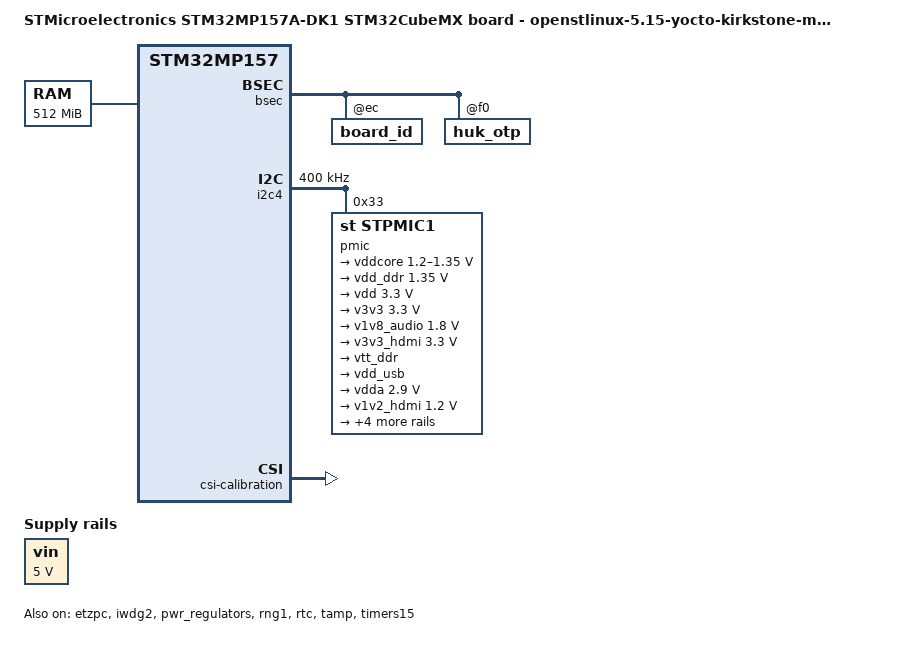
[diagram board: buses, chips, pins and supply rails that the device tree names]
/dts-v1/;
#include <dt-bindings/pinctrl/stm32-pinfunc.h>
#include <dt-bindings/clock/stm32mp1-clksrc.h>
#include <dt-bindings/soc/stm32mp15-etzpc.h>
#include "stm32mp157.dtsi"
#include "stm32mp15xa.dtsi"
#include "stm32mp15xxac-pinctrl.dtsi"

/* USER CODE BEGIN includes */
#include <dt-bindings/power/stm32mp1-power.h>
/* USER CODE END includes */

/{
	model = "STMicroelectronics STM32MP157A-DK1 STM32CubeMX board - openstlinux-5.15-yocto-kirkstone-mp1-v22.06.15";
	compatible = "st,stm32mp157a-board_157a-dk1-mx", "st,stm32mp157";

	/* USER CODE BEGIN root */

	vin:vin{
		compatible = "regulator-fixed";
		regulator-name = "vin";
		regulator-min-microvolt = <5000000>;
		regulator-max-microvolt = <5000000>;
		regulator-always-on;
	};

	aliases{
		serial0 = &uart4;
		serial1 = &usart3;
		serial2 = &uart7;
	};

	chosen{
		stdout-path = "serial0:115200n8";
	};
	/* USER CODE END root */

	memory@c0000000{
		device_type = "memory";
		reg = <0xc0000000 0x20000000>;
	};

	reserved-memory{
		#address-cells = <1>;
		#size-cells = <1>;
		ranges;
	};

	clocks{

		clk_hsi:clk-hsi{
			clock-frequency = <64000000>;
		};

		clk_lse:clk-lse{
			clock-frequency = <32768>;
			st,drive = < LSEDRV_MEDIUM_HIGH >;
		};

		clk_hse:clk-hse{
			clock-frequency = <24000000>;
			st,digbypass;
		};
	};
};

&pinctrl{

	/* USER CODE BEGIN pinctrl */
	/* USER CODE END pinctrl */
};

&pinctrl_z{

	i2c4_pins_z_mx:i2c4_mx-0{

		pins{
			pinmux = <STM32_PINMUX('Z', 4, AF6)>,
					<STM32_PINMUX('Z', 5, AF6)>;
			bias-disable;
			drive-open-drain;
			slew-rate = <0>;
		};
	};
};

&bsec{
	status = "okay";

	/* USER CODE BEGIN bsec */

	board_id:board_id@ec{
		reg = <0xec 0x4>;
		st,non-secure-otp;
	};

	huk_otp:huk_otp@f0{
		reg = <0xf0 0x10>;
	};
	/* USER CODE END bsec */
};

&etzpc{
	status = "okay";
	st,decprot = <
	
	DECPROT(STM32MP1_ETZPC_ADC_ID, DECPROT_NS_RW, DECPROT_UNLOCK)
	DECPROT(STM32MP1_ETZPC_DMA1_ID, DECPROT_NS_RW, DECPROT_UNLOCK)
	DECPROT(STM32MP1_ETZPC_DMA2_ID, DECPROT_NS_RW, DECPROT_UNLOCK)
	DECPROT(STM32MP1_ETZPC_DMAMUX_ID, DECPROT_NS_RW, DECPROT_UNLOCK)
	DECPROT(STM32MP1_ETZPC_ETH_ID, DECPROT_NS_RW, DECPROT_UNLOCK)
	DECPROT(STM32MP1_ETZPC_HASH1_ID, DECPROT_NS_RW, DECPROT_UNLOCK)
	DECPROT(STM32MP1_ETZPC_CEC_ID, DECPROT_NS_RW, DECPROT_UNLOCK)
	DECPROT(STM32MP1_ETZPC_I2C1_ID, DECPROT_NS_RW, DECPROT_UNLOCK)
	DECPROT(STM32MP1_ETZPC_I2C4_ID, DECPROT_NS_RW, DECPROT_UNLOCK)
	DECPROT(STM32MP1_ETZPC_SPI2_ID, DECPROT_NS_RW, DECPROT_UNLOCK)
	DECPROT(STM32MP1_ETZPC_SAI2_ID, DECPROT_NS_RW, DECPROT_UNLOCK)
	DECPROT(STM32MP1_ETZPC_UART4_ID, DECPROT_NS_RW, DECPROT_UNLOCK)
	DECPROT(STM32MP1_ETZPC_OTG_ID, DECPROT_NS_RW, DECPROT_UNLOCK)
	DECPROT(STM32MP1_ETZPC_VREFBUF_ID, DECPROT_NS_RW, DECPROT_UNLOCK)
	
	DECPROT(STM32MP1_ETZPC_DDRCTRL_ID, DECPROT_NS_R_S_W, DECPROT_LOCK)
	DECPROT(STM32MP1_ETZPC_DDRPHYC_ID, DECPROT_NS_R_S_W, DECPROT_LOCK)
	
	DECPROT(STM32MP1_ETZPC_RNG1_ID, DECPROT_S_RW, DECPROT_UNLOCK)
	DECPROT(STM32MP1_ETZPC_STGENC_ID, DECPROT_S_RW, DECPROT_UNLOCK)

	

	
	
	>;
};

&i2c4{
	pinctrl-names = "default";
	pinctrl-0 = <&i2c4_pins_z_mx>;
	status = "okay";

	/* USER CODE BEGIN i2c4 */
	compatible = "st,stm32mp15-i2c-non-secure";
	i2c-scl-rising-time-ns = <185>;
	i2c-scl-falling-time-ns = <20>;
	clock-frequency = <400000>;

	pmic:stpmic@33{
		compatible = "st,stpmic1";
		reg = <0x33>;
		interrupt-controller;
		#interrupt-cells = <2>;
		status = "okay";

		regulators{
			compatible = "st,stpmic1-regulators";
			buck1-supply = <&vin>;
			buck2-supply = <&vin>;
			buck3-supply = <&vin>;
			buck4-supply = <&vin>;
			ldo1-supply = <&v3v3>;
			ldo2-supply = <&vin>;
			ldo3-supply = <&vdd_ddr>;
			ldo4-supply = <&vin>;
			ldo5-supply = <&vin>;
			ldo6-supply = <&v3v3>;
			vref_ddr-supply = <&vin>;
			boost-supply = <&vin>;
			pwr_sw1-supply = <&bst_out>;
			pwr_sw2-supply = <&bst_out>;

			vddcore:buck1{
				regulator-name = "vddcore";
				regulator-min-microvolt = <1200000>;
				regulator-max-microvolt = <1350000>;
				regulator-always-on;
				regulator-initial-mode = <0>;
				regulator-over-current-protection;

				lp-stop{
					regulator-on-in-suspend;
					regulator-suspend-microvolt = <1200000>;
				};

				standby-ddr-sr{
					regulator-off-in-suspend;
				};

				standby-ddr-off{
					regulator-off-in-suspend;
				};
			};

			vdd_ddr:buck2{
				regulator-name = "vdd_ddr";
				regulator-min-microvolt = <1350000>;
				regulator-max-microvolt = <1350000>;
				regulator-always-on;
				regulator-initial-mode = <0>;
				regulator-over-current-protection;

				lp-stop{
					regulator-suspend-microvolt = <1350000>;
					regulator-on-in-suspend;
				};

				standby-ddr-sr{
					regulator-suspend-microvolt = <1350000>;
					regulator-on-in-suspend;
				};

				standby-ddr-off{
					regulator-off-in-suspend;
				};
			};

			vdd:buck3{
				regulator-name = "vdd";
				regulator-min-microvolt = <3300000>;
				regulator-max-microvolt = <3300000>;
				regulator-always-on;
				st,mask-reset;
				regulator-initial-mode = <0>;
				regulator-over-current-protection;

				lp-stop{
					regulator-suspend-microvolt = <3300000>;
					regulator-on-in-suspend;
				};

				standby-ddr-sr{
					regulator-suspend-microvolt = <3300000>;
					regulator-on-in-suspend;
				};

				standby-ddr-off{
					regulator-suspend-microvolt = <3300000>;
					regulator-on-in-suspend;
				};
			};

			v3v3:buck4{
				regulator-name = "v3v3";
				regulator-min-microvolt = <3300000>;
				regulator-max-microvolt = <3300000>;
				regulator-always-on;
				regulator-over-current-protection;
				regulator-initial-mode = <0>;

				lp-stop{
					regulator-suspend-microvolt = <3300000>;
					regulator-on-in-suspend;
				};

				standby-ddr-sr{
					regulator-off-in-suspend;
				};

				standby-ddr-off{
					regulator-off-in-suspend;
				};
			};

			v1v8_audio:ldo1{
				regulator-name = "v1v8_audio";
				regulator-min-microvolt = <1800000>;
				regulator-max-microvolt = <1800000>;
				regulator-always-on;

				standby-ddr-sr{
					regulator-off-in-suspend;
				};

				standby-ddr-off{
					regulator-off-in-suspend;
				};
			};

			v3v3_hdmi:ldo2{
				regulator-name = "v3v3_hdmi";
				regulator-min-microvolt = <3300000>;
				regulator-max-microvolt = <3300000>;
				regulator-always-on;

				standby-ddr-sr{
					regulator-off-in-suspend;
				};

				standby-ddr-off{
					regulator-off-in-suspend;
				};
			};

			vtt_ddr:ldo3{
				regulator-name = "vtt_ddr";
				regulator-always-on;
				regulator-over-current-protection;
				st,regulator-sink-source;

				lp-stop{
					regulator-off-in-suspend;
				};

				standby-ddr-sr{
					regulator-off-in-suspend;
				};

				standby-ddr-off{
					regulator-off-in-suspend;
				};
			};

			vdd_usb:ldo4{
				regulator-name = "vdd_usb";

				standby-ddr-sr{
					regulator-off-in-suspend;
				};

				standby-ddr-off{
					regulator-off-in-suspend;
				};
			};

			vdda:ldo5{
				regulator-name = "vdda";
				regulator-min-microvolt = <2900000>;
				regulator-max-microvolt = <2900000>;
				regulator-boot-on;

				standby-ddr-sr{
					regulator-off-in-suspend;
				};

				standby-ddr-off{
					regulator-off-in-suspend;
				};
			};

			v1v2_hdmi:ldo6{
				regulator-name = "v1v2_hdmi";
				regulator-min-microvolt = <1200000>;
				regulator-max-microvolt = <1200000>;
				regulator-always-on;

				standby-ddr-sr{
					regulator-off-in-suspend;
				};

				standby-ddr-off{
					regulator-off-in-suspend;
				};
			};

			vref_ddr:vref_ddr{
				regulator-name = "vref_ddr";
				regulator-always-on;
				regulator-over-current-protection;

				lp-stop{
					regulator-on-in-suspend;
				};

				standby-ddr-sr{
					regulator-on-in-suspend;
				};

				standby-ddr-off{
					regulator-off-in-suspend;
				};
			};

			bst_out:boost{
				regulator-name = "bst_out";
			};

			vbus_otg:pwr_sw1{
				regulator-name = "vbus_otg";
			};

			vbus_sw:pwr_sw2{
				regulator-name = "vbus_sw";
				regulator-active-discharge = <1>;
			};
		};
	};
	/* USER CODE END i2c4 */
};

&iwdg2{
	status = "okay";

	/* USER CODE BEGIN iwdg2 */
	timeout-sec = <32>;
	secure-timeout-sec = <15>;
	/* USER CODE END iwdg2 */
};

&pwr_regulators{
	status = "okay";

	/* USER CODE BEGIN pwr_regulators */
	system_suspend_supported_soc_modes = <
		STM32_PM_CSLEEP_RUN
		STM32_PM_CSTOP_ALLOW_LP_STOP
		STM32_PM_CSTOP_ALLOW_STANDBY_DDR_SR
	>;
	system_off_soc_mode = <STM32_PM_CSTOP_ALLOW_STANDBY_DDR_OFF>;
	vdd-supply = <&vdd>;
	vdd_3v3_usbfs-supply = <&vdd_usb>;
	/* USER CODE END pwr_regulators */
};

&rcc{
	status = "okay";
	clocks = <&clk_hse>, <&clk_hsi>, <&clk_lse>, <&clk_lsi>, <&clk_csi>;
	clock-names = "clk-hse", "clk-hsi", "clk-lse", "clk-lsi", "clk-csi";
	st,clksrc = <
		CLK_MPU_PLL1P
		CLK_AXI_PLL2P
		CLK_MCU_PLL3P
		CLK_PLL12_HSE
		CLK_PLL3_HSE
		CLK_PLL4_HSE
		CLK_RTC_LSE
		CLK_MCO1_DISABLED
		CLK_MCO2_DISABLED
	>;
	st,clkdiv = <
		1 		
		0 		
		0 		
		1 		
		1 		
		1 		
		1 		
		2 		
		23 		
		0 		
		0 		
	>;
	st,pkcs = <
		CLK_CKPER_HSE
		CLK_ETH_PLL4P
		CLK_SDMMC12_PLL4P
		CLK_STGEN_HSE
		CLK_USBPHY_HSE
		CLK_SPI2S1_DISABLED
		CLK_SPI2S23_PLL3Q
		CLK_SPI45_DISABLED
		CLK_SPI6_DISABLED
		CLK_I2C46_HSI
		CLK_SDMMC3_DISABLED
		CLK_USBO_USBPHY
		CLK_ADC_CKPER
		CLK_CEC_LSE
		CLK_I2C12_HSI
		CLK_I2C35_DISABLED
		CLK_UART1_DISABLED
		CLK_UART24_HSI
		CLK_UART35_DISABLED
		CLK_UART6_DISABLED
		CLK_UART78_DISABLED
		CLK_SPDIF_DISABLED
		CLK_SAI1_DISABLED
		CLK_SAI2_PLL3Q
		CLK_SAI3_DISABLED
		CLK_SAI4_DISABLED
		CLK_RNG1_CSI
		CLK_LPTIM1_DISABLED
		CLK_LPTIM23_DISABLED
		CLK_LPTIM45_DISABLED
	>;

	pll2:st,pll@1{
		compatible = "st,stm32mp1-pll";
		reg = <1>;
		cfg = < 2 65 1 0 0 PQR(1,1,1) >;
		frac = < 0x1400 >;
	};

	pll3:st,pll@2{
		compatible = "st,stm32mp1-pll";
		reg = <2>;
		cfg = < 1 33 1 16 36 PQR(1,1,0) >;
		frac = < 0x1a04 >;
	};

	pll4:st,pll@3{
		compatible = "st,stm32mp1-pll";
		reg = <3>;
		cfg = < 3 98 5 7 7 PQR(1,1,0) >;
	};
};

&rng1{
	status = "okay";
};

&rtc{
	status = "okay";
};

&tamp{
	status = "okay";
};

/* USER CODE BEGIN addons */

&cpu0{
	cpu-supply = <&vddcore>;
};

&osc_calibration{

	csi-calibration{
		status = "okay";
	};

	hsi-calibration{
		status = "okay";
	};
};

&timers15{
	status = "okay";

	counter{
		status = "okay";
	};
};

&cpu1{
	cpu-supply = <&vddcore>;
};
/* USER CODE END addons */
